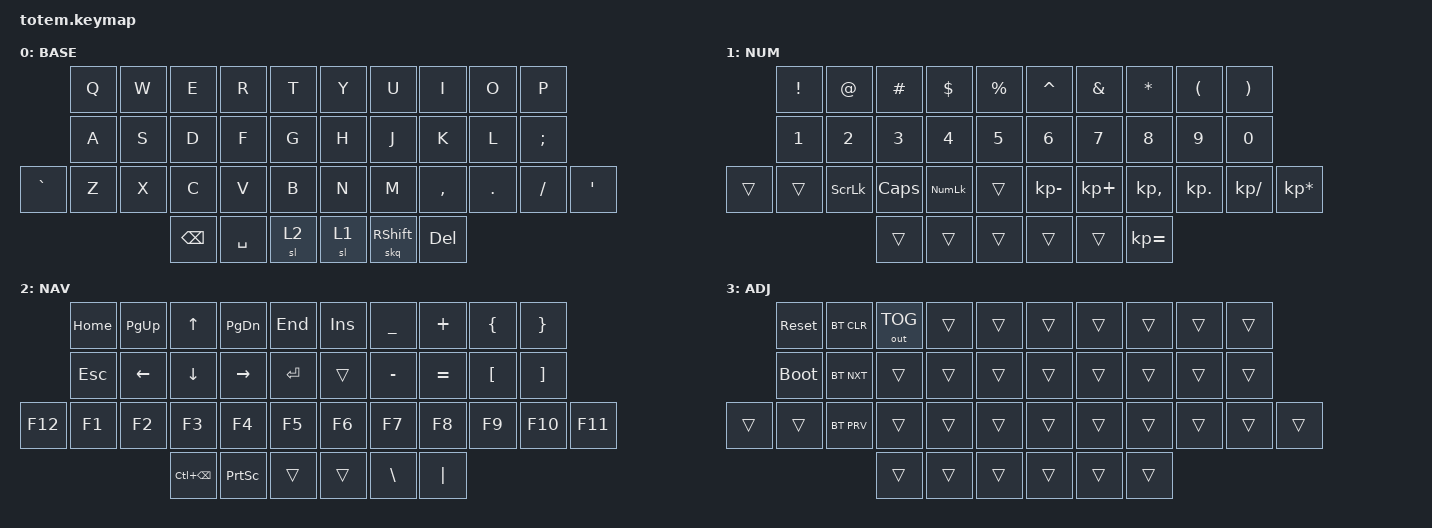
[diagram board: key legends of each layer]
//
//                                                        ▀▀▀▀▀     ▀▀▀▀▀          ▀▀█▀▀
//                                                        ▄▀▀▀▄  ▄  ▄▀▀▀▄  ▄  ▄▀▀▀▄  █  ▄▀▀▀▄
//                                                        █   █  █  █   █  █  █   █  █  █   █
//                                                         ▀▀▀   █   ▀▀▀   █   ▀▀▀   ▀   ▀▀▀
//                                                               █      ▄▄▄█▄▄▄    █   █  
//                                                               ▀      █  █  █     █▄█
//                                                             ▀▀▀▀▀    █  █  █      ▀
//                                                                      ▀  ▀  ▀
//
// ▄▄▄▄▄▄▄▄▄▄▄▄▄▄▄▄▄▄▄▄▄▄▄▄▄▄▄▄▄▄▄▄▄▄▄▄▄▄▄▄▄▄▄▄▄▄▄▄▄▄▄▄▄▄▄▄▄▄▄▄▄▄▄▄▄▄▄▄▄▄▄▄▄▄▄▄▄▄▄▄▄▄▄▄▄▄▄▄▄▄▄▄▄▄▄▄▄▄▄▄▄▄▄▄▄▄▄▄▄▄▄▄▄▄▄▄▄▄▄▄▄▄▄▄▄▄▄▄▄▄▄▄▄▄▄▄▄▄▄▄▄▄▄▄▄▄▄▄▄

#include <behaviors/num_word.dtsi>
#include <behaviors.dtsi>
#include <dt-bindings/zmk/bt.h>
#include <dt-bindings/zmk/keys.h>
#include <dt-bindings/zmk/outputs.h>

#define BASE 0
#define NUM  1
#define NAV  2
#define ADJ  3

&mt {
    quick-tap-ms = <100>;
    global-quick-tap;
    flavor = "balanced";
    tapping-term-ms = <170>;
};

&num_word { continue-list = <BSPC DEL DOT COMMA KP_PLUS KP_SUBTRACT KP_COMMA KP_DOT KP_DIVIDE KP_MULTIPLY>; };

/ {
    combos {
        compatible = "zmk,combos";

        ctrl {
            bindings = <&sk LCTRL>;
            key-positions = <13 34>;
            slow-release;
        };

        alt {
            bindings = <&kp LALT>;
            key-positions = <11 34>;
            slow-release;
        };

        shft {
            bindings = <&kp LSHFT>;
            key-positions = <12 34>;
            slow-release;
        };

        gui {
            bindings = <&kp LGUI>;
            key-positions = <10 34>;
            slow-release;
        };

        ctrl+alt {
            bindings = <&kp LC(LALT)>;
            key-positions = <11 13 34>;
            slow-release;
        };

        ctrl+shft {
            bindings = <&kp LS(LCTRL)>;
            key-positions = <13 12 34>;
            slow-release;
        };

        ctrl+gui {
            bindings = <&kp LC(LGUI)>;
            key-positions = <10 13 34>;
            slow-release;
        };

        alt+shft {
            bindings = <&kp LA(LSHFT)>;
            key-positions = <11 12 34>;
            slow-release;
        };

        alt+gui {
            bindings = <&kp LA(LGUI)>;
            key-positions = <10 11 34>;
            slow-release;
        };

        shft+gui {
            bindings = <&kp LS(LGUI)>;
            key-positions = <10 12 34>;
            slow-release;
        };

        ctrl+alt+shft {
            bindings = <&kp LS(LC(LALT))>;
            key-positions = <13 12 11 34>;
            slow-release;
        };

        ctrl+alt+gui {
            bindings = <&kp LA(LC(LGUI))>;
            key-positions = <10 11 13 34>;
            slow-release;
        };

        ctrl+shft+gui {
            bindings = <&kp LS(LC(LGUI))>;
            key-positions = <10 13 12 34>;
            slow-release;
        };

        alt+shft+gui {
            bindings = <&kp LS(LA(LGUI))>;
            key-positions = <10 11 12 34>;
            slow-release;
        };

        ctrl+alt+shft+gui {
            bindings = <&kp LC(LS(LA(LGUI)))>;
            key-positions = <11 12 10 13 34>;
            slow-release;
        };

        ctrl+nav {
            bindings = <&ml LCTRL 2>;
            key-positions = <34 3>;
            slow-release;
        };

        alt+nav {
            bindings = <&ml LALT 2>;
            key-positions = <34 1>;
            slow-release;
        };

        shft+nav {
            bindings = <&ml LSHFT 2>;
            key-positions = <34 2>;
            slow-release;
        };

        gui+nav {
            bindings = <&ml LGUI 2>;
            key-positions = <34 0>;
            slow-release;
        };

        ctrl+alt+nav {
            bindings = <&ml LC(LALT) 2>;
            key-positions = <34 1 3>;
            slow-release;
        };

        ctrl+shft+nav {
            bindings = <&ml LC(LSHFT) 2>;
            key-positions = <34 2 3>;
            slow-release;
        };

        ctrl+gui+nav {
            bindings = <&ml LC(LGUI) 2>;
            key-positions = <34 3 0>;
            slow-release;
        };

        alt+shft+nav {
            bindings = <&ml LA(LSHFT) 2>;
            key-positions = <34 1 2>;
            slow-release;
        };

        alt+gui+nav {
            bindings = <&ml LA(LGUI) 2>;
            key-positions = <34 1 0>;
            slow-release;
        };

        shft+gui+nav {
            bindings = <&ml LS(LGUI) 2>;
            key-positions = <34 2 0>;
            slow-release;
        };

        ctrl+alt+shft+nav {
            bindings = <&ml LC(LA(LSHFT)) 2>;
            key-positions = <34 1 2 3>;
            slow-release;
        };

        ctrl+alt+gui+nav {
            bindings = <&ml LA(LC(LGUI)) 2>;
            key-positions = <34 0 1 3>;
            slow-release;
        };

        ctrl+shft+gui+nav {
            bindings = <&ml LC(LS(LGUI)) 2>;
            key-positions = <34 3 2 0>;
            slow-release;
        };

        alt+shft+gui+nav {
            bindings = <&ml LS(LA(LGUI)) 2>;
            key-positions = <34 0 1 2>;
            slow-release;
        };

        ctrl+alt+shft+gui+nav {
            bindings = <&ml LS(LA(LC(LGUI))) 2>;
            key-positions = <34 0 1 2 3>;
            slow-release;
        };

        num_word {
            bindings = <&num_word NUM>;
            key-positions = <34 35>;
        };

        caps_word {
            bindings = <&caps_word>;
            key-positions = <34 36>;
        };

        alts_word {
            bindings = <&alts_word>;
            key-positions = <34 37>;
        };

        tab {
            bindings = <&kp TAB>;
            key-positions = <1 2>;
        };
    };

    macros {
        gif: gif {
            label = "giphy";
            compatible = "zmk,behavior-macro";
            #binding-cells = <0>;
            bindings =
                <&macro_press>,
                <&kp LSHFT>,
                <&macro_tap>,
                <&kp N2>,
                <&macro_release>,
                <&kp LSHFT>,
                <&macro_tap>,
                <&kp G &kp I &kp F>;
        };

        ml: mod_layer {
            compatible = "zmk,behavior-macro-two-param";
            #binding-cells = <2>;
            bindings =
                <&macro_param_1to1>,
                <&macro_press>,
                <&kp MACRO_PLACEHOLDER &macro_param_2to1>,
                <&macro_press>,
                <&mo MACRO_PLACEHOLDER>,
                <&macro_pause_for_release>,
                <&macro_param_2to1>,
                <&macro_release>,
                <&mo MACRO_PLACEHOLDER &macro_param_1to1>,
                <&macro_release>,
                <&kp MACRO_PLACEHOLDER>;
        };
    };

    behaviors {
        alts_word: alts_word {
            compatible = "zmk,behavior-caps-word";
            #binding-cells = <0>;
            continue-list = <A B C D E F G H I J K L M N O P Q R S T U V W X Y Z BSPC DELETE>;
            mods = <(MOD_LALT)>;
        };

        hml: home_row_mod_left {
            compatible = "zmk,behavior-hold-tap";
            bindings = <&kp>, <&kp>;

            #binding-cells = <2>;
            tapping-term-ms = <175>;
            quick-tap-ms = <150>;
            require-prior-idle-ms = <125>;
            flavor = "balanced";
            hold-trigger-key-positions = <5 6 8 9 15 16 17 18 19 26 27 28 29 30 31 36 37 7 35>;
            hold-trigger-on-release;
        };

        hmr: home_row_mod_right {
            compatible = "zmk,behavior-hold-tap";
            bindings = <&kp>, <&kp>;

            #binding-cells = <2>;
            tapping-term-ms = <175>;
            quick-tap-ms = <150>;
            require-prior-idle-ms = <125>;
            flavor = "balanced";
            hold-trigger-on-release;
            hold-trigger-key-positions = <0 1 3 4 10 11 12 13 14 20 21 22 23 24 25 32 33 2 34>;
        };

        skl: sticky_key_lazy {
            compatible = "zmk,behavior-sticky-key";
            bindings = <&kp>;
            #binding-cells = <1>;
            lazy;
            release-after-ms = <1000>;
        };

        mt_skq: mod_tap_skq {
            compatible = "zmk,behavior-hold-tap";
            bindings = <&none>, <&kp>;

            #binding-cells = <2>;
            tapping-term-ms = <200>;
            quick-tap-ms = <175>;
            require-prior-idle-ms = <125>;
            flavor = "balanced";
        };

        mm_bs: mod_morph_bspc {
            compatible = "zmk,behavior-mod-morph";
            bindings = <&hml LCTRL BSPC>, <&kp LC(BSPC)>;

            #binding-cells = <0>;
            mods = <(MOD_LSFT)>;
        };

        mo_sk: momentary_sticky {
            compatible = "zmk,behavior-hold-tap";
            bindings = <&mo>, <&sk>;

            #binding-cells = <2>;
            tapping-term-ms = <150>;
        };

        skq: sticky_key_qr {
            compatible = "zmk,behavior-sticky-key";
            bindings = <&kp>;
            #binding-cells = <1>;
            release-after-ms = <1000>;
            quick-release;
        };

        nlw: num_layer_word {
            compatible = "zmk,behavior-hold-tap";
            bindings = <&mo>, <&num_word>;

            #binding-cells = <2>;
            tapping-term-ms = <200>;
        };
    };

    keymap {
        compatible = "zmk,keymap";

        // ▄▄▄▄▄▄▄▄▄▄▄▄▄▄▄▄▄▄▄▄▄▄▄▄▄▄▄▄▄▄▄▄▄▄▄▄▄▄▄▄▄▄▄▄▄▄▄▄▄▄▄▄▄▄▄▄▄▄▄▄▄▄▄▄▄▄▄▄▄▄▄▄▄▄▄▄▄▄▄▄▄▄▄▄▄▄▄▄▄▄▄▄▄▄▄▄▄▄▄▄▄▄▄▄▄▄▄▄▄▄▄▄▄▄▄▄▄▄▄▄▄▄▄▄▄▄▄▄▄▄▄▄▄▄▄▄▄▄▄▄▄▄▄▄▄▄▄▄▄

        base_layer {
            // ┏━━━━━━━━━━━━━━━━━━━━━━━━━━━━━━━━━━━━━━━┓

            label = "BASE";

            // ┗━━━━━━━━━━━━━━━━━━━━━━━━━━━━━━━━━━━━━━━┛
            //             ┏━━━━━━━━━━━┳━━━━━━━━━━━┳━━━━━━━━━━━┳━━━━━━━━━━━┳━━━━━━━━━━━┓   ┏━━━━━━━━━━━┳━━━━━━━━━━━┳━━━━━━━━━━━┳━━━━━━━━━━━┳━━━━━━━━━━━┓
            //             ┃     Q     ┃     W     ┃     F     ┃     P     ┃     G     ┃   ┃     J     ┃     L     ┃     U     ┃     Y     ┃     ;     ┃
            //             ┣━━━━━━━━━━━╋━━━━━━━━━━━╋━━━━━━━━━━━╋━━━━━━━━━━━╋━━━━━━━━━━━┫   ┣━━━━━━━━━━━╋━━━━━━━━━━━╋━━━━━━━━━━━╋━━━━━━━━━━━╋━━━━━━━━━━━┫
            //             ┃     A     ┃     R     ┃     S     ┃     T     ┃     D     ┃   ┃     H     ┃     N     ┃     E     ┃     I     ┃     O     ┃
            // ┏━━━━━━━━━━━╋━━━━━━━━━━━╋━━━━━━━━━━━╋━━━━━━━━━━━╋━━━━━━━━━━━╋━━━━━━━━━━━┫   ┣━━━━━━━━━━━╋━━━━━━━━━━━╋━━━━━━━━━━━╋━━━━━━━━━━━╋━━━━━━━━━━━╋━━━━━━━━━━━┓
            // ┃     Q     ┃     Z     ┃     X     ┃     C     ┃     V     ┃     B     ┃   ┃     K     ┃     M     ┃     ,     ┃     .     ┃     /     ┃     \     ┃
            // ┗━━━━━━━━━━━┻━━━━━━━━━━━┻━━━━━━━━━━━╋━━━━━━━━━━━╋━━━━━━━━━━━╋━━━━━━━━━━━┫   ┣━━━━━━━━━━━╋━━━━━━━━━━━╋━━━━━━━━━━━╋━━━━━━━━━━━┻━━━━━━━━━━━┻━━━━━━━━━━━┛
            //                                     ┃    DEL    ┃    TAB    ┃    SPC    ┃   ┃   ENTER   ┃           ┃   BSPC    ┃
            //                                     ┗━━━━━━━━━━━┻━━━━━━━━━━━┻━━━━━━━━━━━┛   ┗━━━━━━━━━━━┻━━━━━━━━━━━┻━━━━━━━━━━━┛

            bindings = <
           &kp Q  &kp W  &kp E          &kp R      &kp T    &kp Y  &kp U        &kp I      &kp O    &kp P
           &kp A  &kp S  &kp D          &kp F      &kp G    &kp H  &kp J        &kp K      &kp L    &kp SEMI
&kp GRAVE  &kp Z  &kp X  &kp C          &kp V      &kp B    &kp N  &kp M        &kp COMMA  &kp DOT  &kp FSLH  &kp SQT
                         &kp BACKSPACE  &kp SPACE  &sl 2    &sl 1  &skq RSHIFT  &kp DEL
            >;
        };

        num_layer {
            // ┏━━━━━━━━━━━━━━━━━━━━━━━━━━━━━━━━━━━━━━━┓

            label = "NUM";

            // ┗━━━━━━━━━━━━━━━━━━━━━━━━━━━━━━━━━━━━━━━┛
            //             ┏━━━━━━━━━━━┳━━━━━━━━━━━┳━━━━━━━━━━━┳━━━━━━━━━━━┳━━━━━━━━━━━┓   ┏━━━━━━━━━━━┳━━━━━━━━━━━┳━━━━━━━━━━━┳━━━━━━━━━━━┳━━━━━━━━━━━┓
            //             ┃     !     ┃     @     ┃     #     ┃     $     ┃     %     ┃   ┃     ˆ     ┃     &     ┃     Ü     ┃     '     ┃     "     ┃
            //             ┣━━━━━━━━━━━╋━━━━━━━━━━━╋━━━━━━━━━━━╋━━━━━━━━━━━╋━━━━━━━━━━━┫   ┣━━━━━━━━━━━╋━━━━━━━━━━━╋━━━━━━━━━━━╋━━━━━━━━━━━╋━━━━━━━━━━━┫
            //             ┃     Ä     ┃           ┃    SZ     ┃           ┃           ┃   ┃   MUTE    ┃   YEN     ┃   EURO    ┃  POUND    ┃     Ö     ┃
            // ┏━━━━━━━━━━━╋━━━━━━━━━━━╋━━━━━━━━━━━╋━━━━━━━━━━━╋━━━━━━━━━━━╋━━━━━━━━━━━┫   ┣━━━━━━━━━━━╋━━━━━━━━━━━╋━━━━━━━━━━━╋━━━━━━━━━━━╋━━━━━━━━━━━╋━━━━━━━━━━━┓
            // ┃           ┃  EMAIL1   ┃  EMAIL2   ┃           ┃           ┃           ┃   ┃   VOL-    ┃   VOL+    ┃   LAST    ┃   NEXT    ┃     \     ┃           ┃
            // ┗━━━━━━━━━━━┻━━━━━━━━━━━┻━━━━━━━━━━━╋━━━━━━━━━━━╋━━━━━━━━━━━╋━━━━━━━━━━━┫   ┣━━━━━━━━━━━╋━━━━━━━━━━━╋━━━━━━━━━━━╋━━━━━━━━━━━┻━━━━━━━━━━━┻━━━━━━━━━━━┛
            //                                     ┃           ┃    GIF    ┃    ADJ    ┃   ┃           ┃           ┃           ┃
            //                                     ┗━━━━━━━━━━━┻━━━━━━━━━━━┻━━━━━━━━━━━┛   ┗━━━━━━━━━━━┻━━━━━━━━━━━┻━━━━━━━━━━━┛

            bindings = <
        &kp EXCL  &kp AT    &kp HASH  &kp DLLR     &kp PRCNT    &kp CARET     &kp AMPS     &kp ASTRK     &kp LPAR    &kp RPAR
        &kp N1    &kp N2    &kp N3    &kp N4       &kp N5       &kp N6        &kp N7       &kp N8        &kp N9      &kp N0
&trans  &trans    &kp SLCK  &kp CAPS  &kp KP_NLCK  &trans       &kp KP_MINUS  &kp KP_PLUS  &kp KP_COMMA  &kp KP_DOT  &kp KP_DIVIDE  &kp KP_MULTIPLY
                            &trans    &trans       &trans       &trans        &trans       &kp KP_EQUAL
            >;
        };

        nav_layer {
            // ┏━━━━━━━━━━━━━━━━━━━━━━━━━━━━━━━━━━━━━━━┓

            label = "NAV";

            // ┗━━━━━━━━━━━━━━━━━━━━━━━━━━━━━━━━━━━━━━━┛
            //             ┏━━━━━━━━━━━┳━━━━━━━━━━━┳━━━━━━━━━━━┳━━━━━━━━━━━┳━━━━━━━━━━━┓   ┏━━━━━━━━━━━┳━━━━━━━━━━━┳━━━━━━━━━━━┳━━━━━━━━━━━┳━━━━━━━━━━━┓
            //             ┃           ┃           ┃     UP    ┃           ┃     {     ┃   ┃     }     ┃     7     ┃     8     ┃     9     ┃     +     ┃
            //             ┣━━━━━━━━━━━╋━━━━━━━━━━━╋━━━━━━━━━━━╋━━━━━━━━━━━╋━━━━━━━━━━━┫   ┣━━━━━━━━━━━╋━━━━━━━━━━━╋━━━━━━━━━━━╋━━━━━━━━━━━╋━━━━━━━━━━━┫
            //             ┃   SHIFT   ┃   LEFT    ┃    DOWN   ┃   RIGHT   ┃     [     ┃   ┃     ]     ┃     4     ┃     5     ┃     6     ┃     -     ┃
            // ┏━━━━━━━━━━━╋━━━━━━━━━━━╋━━━━━━━━━━━╋━━━━━━━━━━━╋━━━━━━━━━━━╋━━━━━━━━━━━┫   ┣━━━━━━━━━━━╋━━━━━━━━━━━╋━━━━━━━━━━━╋━━━━━━━━━━━╋━━━━━━━━━━━╋━━━━━━━━━━━┓
            // ┃           ┃           ┃   P UP    ┃  C LOCK   ┃  P DOWN   ┃     (     ┃   ┃     )     ┃     1     ┃     2     ┃     3     ┃     *     ┃           ┃
            // ┗━━━━━━━━━━━┻━━━━━━━━━━━┻━━━━━━━━━━━╋━━━━━━━━━━━╋━━━━━━━━━━━╋━━━━━━━━━━━┫   ┣━━━━━━━━━━━╋━━━━━━━━━━━╋━━━━━━━━━━━╋━━━━━━━━━━━┻━━━━━━━━━━━┻━━━━━━━━━━━┛
            //                                     ┃           ┃    TAB    ┃    SPC    ┃   ┃    DEL    ┃     0     ┃           ┃
            //                                     ┗━━━━━━━━━━━┻━━━━━━━━━━━┻━━━━━━━━━━━┛   ┗━━━━━━━━━━━┻━━━━━━━━━━━┻━━━━━━━━━━━┛

            bindings = <
         &kp HOME  &kp PG_UP  &kp UP        &kp PG_DN  &kp END    &kp INS  &kp UNDER  &kp PLUS   &kp LBRC  &kp RBRC
         &kp ESC   &kp LEFT   &kp DOWN      &kp RIGHT  &kp RET    &trans   &kp MINUS  &kp EQUAL  &kp LBKT  &kp RBKT
&kp F12  &kp F1    &kp F2     &kp F3        &kp F4     &kp F5     &kp F6   &kp F7     &kp F8     &kp F9    &kp F10   &kp F11
                              &kp LC(BSPC)  &kp PSCRN  &trans     &trans   &kp BSLH   &kp PIPE
            >;
        };

        adjust_layer {
            // ┏━━━━━━━━━━━━━━━━━━━━━━━━━━━━━━━━━━━━━━━┓

            label = "ADJ";

            // ┗━━━━━━━━━━━━━━━━━━━━━━━━━━━━━━━━━━━━━━━┛
            //             ┏━━━━━━━━━━━┳━━━━━━━━━━━┳━━━━━━━━━━━┳━━━━━━━━━━━┳━━━━━━━━━━━┓   ┏━━━━━━━━━━━┳━━━━━━━━━━━┳━━━━━━━━━━━┳━━━━━━━━━━━┳━━━━━━━━━━━┓
            //             ┃   RESET   ┃ BT CLEAR  ┃  OUT TOG  ┃           ┃           ┃   ┃           ┃    F7     ┃    F8     ┃    F9     ┃    F12    ┃
            //             ┣━━━━━━━━━━━╋━━━━━━━━━━━╋━━━━━━━━━━━╋━━━━━━━━━━━╋━━━━━━━━━━━┫   ┣━━━━━━━━━━━╋━━━━━━━━━━━╋━━━━━━━━━━━╋━━━━━━━━━━━╋━━━━━━━━━━━┫
            //             ┃ BOOTLOAD  ┃ BT NEXT   ┃           ┃           ┃           ┃   ┃           ┃    F4     ┃    F5     ┃    F6     ┃    F11    ┃
            // ┏━━━━━━━━━━━╋━━━━━━━━━━━╋━━━━━━━━━━━╋━━━━━━━━━━━╋━━━━━━━━━━━╋━━━━━━━━━━━┫   ┣━━━━━━━━━━━╋━━━━━━━━━━━╋━━━━━━━━━━━╋━━━━━━━━━━━╋━━━━━━━━━━━╋━━━━━━━━━━━┓
            // ┃           ┃           ┃ BT PREV   ┃           ┃           ┃           ┃   ┃           ┃    F1     ┃    F2     ┃    F3     ┃    F10    ┃           ┃
            // ┗━━━━━━━━━━━┻━━━━━━━━━━━┻━━━━━━━━━━━╋━━━━━━━━━━━╋━━━━━━━━━━━╋━━━━━━━━━━━┫   ┣━━━━━━━━━━━╋━━━━━━━━━━━╋━━━━━━━━━━━╋━━━━━━━━━━━┻━━━━━━━━━━━┻━━━━━━━━━━━┛
            //                                     ┃           ┃           ┃           ┃   ┃           ┃           ┃           ┃
            //                                     ┗━━━━━━━━━━━┻━━━━━━━━━━━┻━━━━━━━━━━━┛   ┗━━━━━━━━━━━┻━━━━━━━━━━━┻━━━━━━━━━━━┛

            bindings = <
        &sys_reset   &bt BT_CLR  &out OUT_TOG  &trans  &trans    &trans  &trans  &trans  &trans  &trans
        &bootloader  &bt BT_NXT  &trans        &trans  &trans    &trans  &trans  &trans  &trans  &trans
&trans  &trans       &bt BT_PRV  &trans        &trans  &trans    &trans  &trans  &trans  &trans  &trans  &trans
                                 &trans        &trans  &trans    &trans  &trans  &trans
            >;
        };
    };
};
